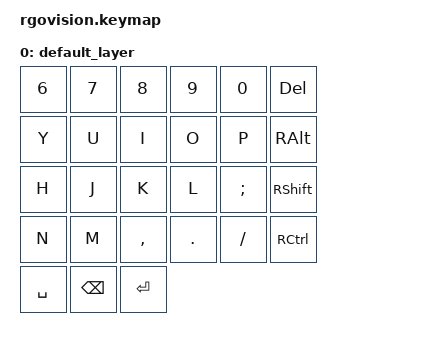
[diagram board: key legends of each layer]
/*
 * Copyright (c) 2020 ZMK Contributors
 *
 * SPDX-License-Identifier: MIT
 */

#include <behaviors.dtsi>
#include <dt-bindings/zmk/keys.h>
#include <dt-bindings/zmk/bt.h>
#include <dt-bindings/zmk/outputs.h>
#include <dt-bindings/zmk/mouse.h>

#define DEF 0;
#define UPE 1;
#define MSC 2;
#define ZMK_MOUSE_DEFAULT_SCRL_VAL 5

&left_encoder { steps = <48>; };

&right_encoder { steps = <48>; };

&sensors { triggers-per-rotation = <12>; };

&msc { acceleration-exponent = <1>; };

/ {
    keymap {
        compatible = "zmk,keymap";

        default_layer {
            bindings = <
                &kp N6     &kp N7     &kp N8     &kp N9     &kp N0     &kp DELETE
                &kp Y      &kp U      &kp I      &kp O      &kp P      &kp RALT
                &kp H      &kp J      &kp K      &kp L      &kp SEMI   &kp RSHIFT
                &kp N      &kp M      &kp COMMA  &kp DOT    &kp SLASH  &kp RCTRL
                &kp SPACE  &kp BSPC   &kp ENTER
            >;
        
        };
    };
};
